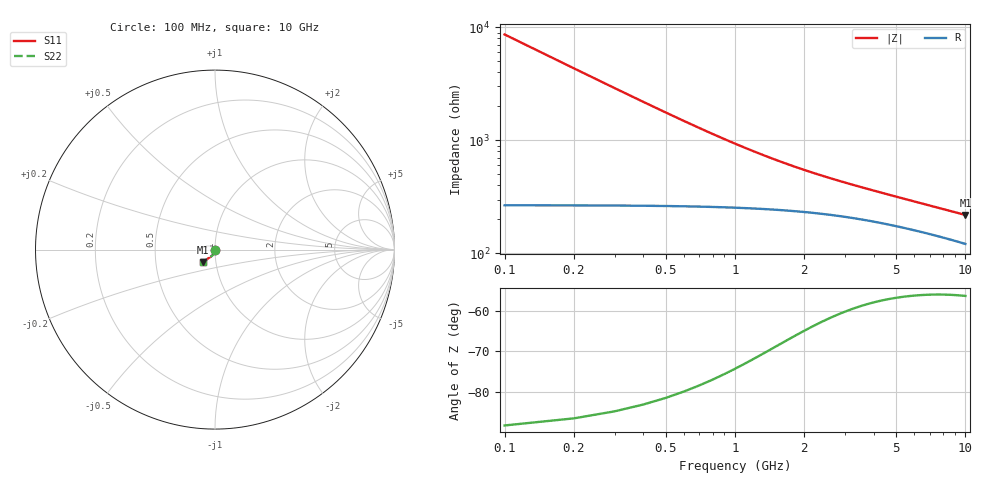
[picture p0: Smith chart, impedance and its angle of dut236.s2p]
! Touchstone file exported from HFSS 2024.1.0
!  File:  C:/UserFiles/LocalFiles/RDL_TSV_Batchsim/temp_TSV1_236_1778767784.aedt
!  Generated:  10:14:22 PM May 14, 2026
!  Design:  TSV1
!  Project:  temp_TSV1_236_1778767784
!  Setup:  Setup1
!  Solution:  Sweep
! Variables:
!  dtsv = 23.6um
!  hbump = 3um
!  htsv = 64.06um
!  lrdl = 252.1521522um
!  p = 40
!  p1 = 51.18um
!  t = 500um
!  trdl = 3um
!  wrdl = 24.89489489um
# GHz S MA R 50.000000
! Terminal data exported
! Port[1] = TSV22_T1
! Port[2] = TSV22_T2
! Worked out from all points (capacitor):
!   100 points, 100 MHz to 10 GHz, reference 50 ohm
!   read as one part in shunt: C = 184 fF near 100 MHz
!   lowest |Z| = 219 ohm at 10 GHz (marker M1)
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0.1  0.00268 -90.4  0.9998 -0.2  0.9998 -0.2  0.00268 -90.4
! Gamma 0 0 0 0
! Port Impedance 50 0 50 0
0.2  0.005345 -93.1  0.9995 -0.4  0.9995 -0.4  0.005345 -93.1
0.3  0.007985 -95.3  0.9991 -0.5  0.9991 -0.5  0.007985 -95.3
0.4  0.01059 -97.3  0.9984 -0.7  0.9984 -0.7  0.01059 -97.3
0.5  0.01313 -99.2  0.9976 -0.9  0.9976 -0.9  0.01313 -99.2
0.6  0.01562 -101.0  0.9967 -1.0  0.9967 -1.0  0.01562 -101.0
0.7  0.01803 -102.7  0.9957 -1.2  0.9957 -1.2  0.01803 -102.7
0.8  0.02037 -104.4  0.9946 -1.3  0.9946 -1.3  0.02037 -104.4
0.9  0.02262 -106.0  0.9934 -1.4  0.9934 -1.4  0.02262 -106.0
1.1  0.02686 -108.9  0.9909 -1.7  0.9909 -1.7  0.02686 -108.9
1.4  0.03257 -112.8  0.9871 -2.0  0.9871 -2.0  0.03257 -112.8
1.6  0.03597 -115.0  0.9846 -2.2  0.9846 -2.2  0.03597 -115.0
1.8  0.03907 -117.0  0.9822 -2.3  0.9822 -2.3  0.03907 -117.0
2.1  0.04324 -119.5  0.9787 -2.6  0.9787 -2.6  0.04324 -119.5
2.5  0.0481 -122.1  0.9746 -2.8  0.9746 -2.8  0.0481 -122.1
2.9  0.05233 -124.2  0.9709 -3.0  0.9709 -3.0  0.05233 -124.2
3.4  0.05701 -126.1  0.9668 -3.3  0.9668 -3.3  0.05701 -126.1
4.2  0.06353 -128.3  0.9612 -3.7  0.9612 -3.7  0.06353 -128.3
5.1  0.06993 -129.9  0.956 -4.1  0.956 -4.1  0.06993 -129.9
6.7  0.07974 -131.6  0.9484 -4.7  0.9484 -4.7  0.07974 -131.6
8.4  0.08868 -132.7  0.9418 -5.3  0.9418 -5.3  0.08868 -132.7
10  0.09618 -133.3  0.9367 -5.9  0.9367 -5.9  0.09618 -133.3
